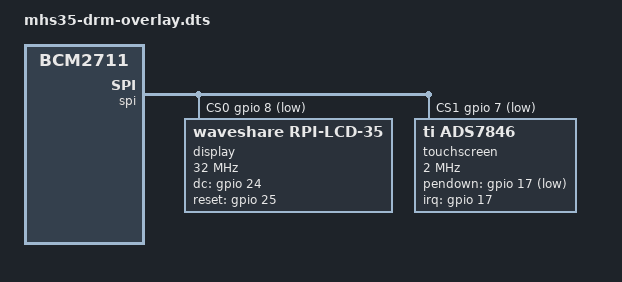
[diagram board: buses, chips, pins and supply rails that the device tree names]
// MHS-3.5" (ILI9486 + XPT2046) for mainline kernel. Pins/calibration from LCD-show mhs35-overlay.
/dts-v1/;
/plugin/;

/ {
	compatible = "brcm,bcm2711";

	fragment@0 {
		target = <&gpio>;
		__overlay__ {
			mhs35_spi0_pins: mhs35-spi0-pins {
				brcm,pins = <9 10 11>;
				brcm,function = <4>; /* alt0 */
			};
			mhs35_spi0_cs_pins: mhs35-spi0-cs-pins {
				brcm,pins = <8 7>;
				brcm,function = <1>; /* output */
			};
		};
	};

	fragment@1 {
		target = <&spi>;
		__overlay__ {
			pinctrl-names = "default";
			pinctrl-0 = <&mhs35_spi0_pins &mhs35_spi0_cs_pins>;
			// native CS lookup hardcodes "pinctrl-bcm2835", Pi 4 chip is "pinctrl-bcm2711" -> -EPROBE_DEFER
			cs-gpios = <&gpio 8 1>, <&gpio 7 1>;
			#address-cells = <1>;
			#size-cells = <0>;
			status = "okay";

			display@0 {
				// waveshare compat = 16-bit regs over 8-bit SPI, same as vendor regwidth=16
				compatible = "waveshare,rpi-lcd-35", "ilitek,ili9486";
				reg = <0>;
				// vendor runs 115MHz; raise if stable
				spi-max-frequency = <32000000>;
				dc-gpios = <&gpio 24 0>;
				// mipi_dbi ends reset at logical 1, so active-high
				reset-gpios = <&gpio 25 0>;
				// DRM 0 = landscape (MADCTL 0xE0); 180 = MADCTL 0x20 = vendor rotate=90. 0 if upside down
				rotation = <180>;
			};

			touchscreen@1 {
				compatible = "ti,ads7846";
				reg = <1>;
				spi-max-frequency = <2000000>;
				interrupt-parent = <&gpio>;
				interrupts = <17 2>;
				pendown-gpio = <&gpio 17 1>;
				ti,x-plate-ohms = /bits/ 16 <60>;
				ti,pressure-max = /bits/ 16 <255>;
				// 99-calibration.conf-mhs35-0
				ti,x-min = /bits/ 16 <268>;
				ti,x-max = /bits/ 16 <3880>;
				ti,y-min = /bits/ 16 <227>;
				ti,y-max = /bits/ 16 <3936>;
			};
		};
	};
};
